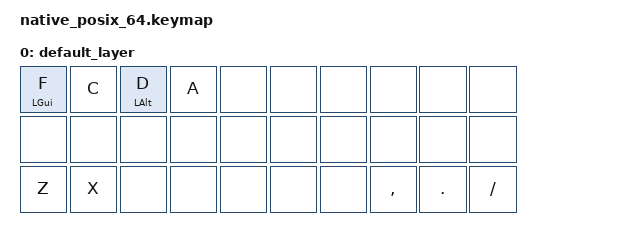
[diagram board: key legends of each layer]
#include <dt-bindings/zmk/keys.h>
#include <behaviors.dtsi>
#include <dt-bindings/zmk/kscan_mock.h>

/ {
    behaviors {
        hml: home_row_mod_left {
            label = "hrm_left";
            compatible = "zmk,behavior-hold-tap";
            #binding-cells = <2>;
            flavor = "balanced";
            tapping-term-ms = <190>;
            quick-tap-ms = <120>;
            require-prior-idle-ms = <100>;
            bindings = <&kp>, <&kp>;
        };
        hmd: home_row_mod_d {
            label = "hrm_d";
            compatible = "zmk,behavior-hold-tap";
            #binding-cells = <2>;
            flavor = "balanced";
            tapping-term-ms = <160>;
            quick-tap-ms = <120>;
            require-prior-idle-ms = <50>;
            bindings = <&kp>, <&kp>;
        };
    };
    keymap {
        compatible = "zmk,keymap";
        default_layer {
            bindings = <
                &hml LGUI F &kp C &hmd LALT D &kp A &none &none &none &none &none &none
                &none &none &none &none &none &none &none &none &none &none
                &kp Z &kp X &none &none &none &none &none &kp COMMA &kp DOT &kp FSLH
            >;
        };
    };
};

&kscan {
    rows = <3>;
    columns = <10>;
    events = <
        // A tap is still F; a quick chord resolves GUI before C.
        ZMK_MOCK_PRESS(0,0,40) ZMK_MOCK_RELEASE(0,0,300)
        ZMK_MOCK_PRESS(0,0,15) ZMK_MOCK_PRESS(0,1,20)
        ZMK_MOCK_RELEASE(0,1,10) ZMK_MOCK_RELEASE(0,0,300)

        // D taps normally; after moderate idle it can resolve as Option.
        ZMK_MOCK_PRESS(0,2,40) ZMK_MOCK_RELEASE(0,2,300)
        ZMK_MOCK_PRESS(0,3,20) ZMK_MOCK_RELEASE(0,3,60)
        ZMK_MOCK_PRESS(0,2,30) ZMK_MOCK_PRESS(0,1,20)
        ZMK_MOCK_RELEASE(0,1,10) ZMK_MOCK_RELEASE(0,2,300)

        // A shorter standalone hold resolves as Option, but fast rolls still tap.
        ZMK_MOCK_PRESS(0,2,170) ZMK_MOCK_RELEASE(0,2,300)
        ZMK_MOCK_PRESS(0,3,10) ZMK_MOCK_RELEASE(0,3,10)
        ZMK_MOCK_PRESS(0,2,220) ZMK_MOCK_RELEASE(0,2,100)

        // A recently typed key should not suppress a hold after the idle gate.
        ZMK_MOCK_PRESS(0,1,10) ZMK_MOCK_RELEASE(0,1,120)
        ZMK_MOCK_PRESS(0,0,15) ZMK_MOCK_PRESS(0,1,20)
        ZMK_MOCK_RELEASE(0,1,10) ZMK_MOCK_RELEASE(0,0,300)

    >;
};
